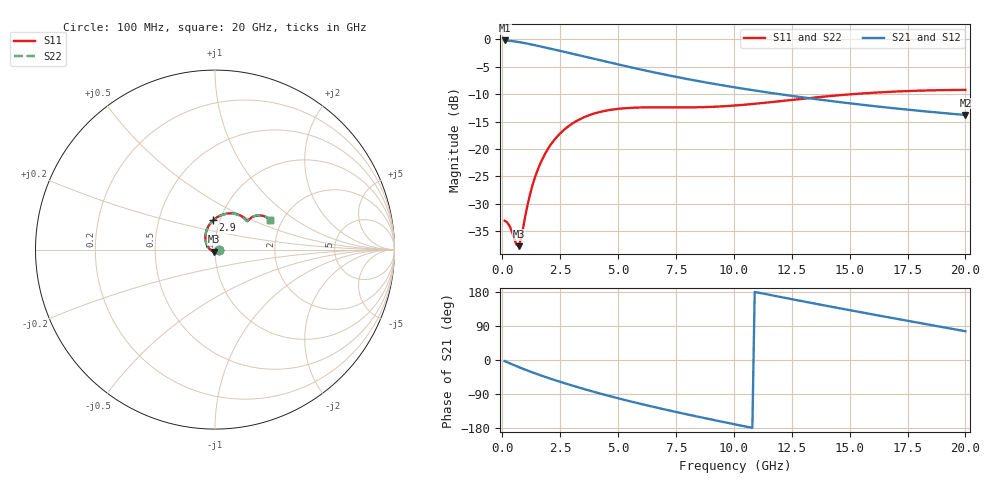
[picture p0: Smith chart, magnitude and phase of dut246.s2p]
! Touchstone file exported from HFSS 2023.1.0
!  File:  D:/Users/fzz/RDL_TSV/temp_RDL_TSV_246_1778759909.aedt
!  Generated:  8:11:15 %x4E0B%x5348  5%x6708 14, 2026
!  Design:  RDL_TSV
!  Project:  temp_RDL_TSV_246_1778759909
!  Setup:  Setup1
!  Solution:  Sweep
! Variables:
!  dtsv = 17.48um
!  hbump = 3um
!  htsv = 85.79um
!  ldown = 477.28um
!  lrdl = 599.51um
!  p = 40
!  p1 = 56.11um
!  rhole = 10um
!  subl = 3829.88um
!  t = 450um
!  tdown = 3.16um
!  trdl = 3.34um
!  viad = 10um
!  wdown = 13.04um
!  wrdl = 24.68um
!  xbump = 18um
# GHz S MA R 50.000000
! Terminal data exported
! Port[1] = TM1_1_T1
! Port[2] = TM1_4_T1
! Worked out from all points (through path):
!   200 points, 100 MHz to 20 GHz, reference 50 ohm
!   highest |S21| = -0.20 dB at 100 MHz (marker M1); lowest = -13.8 dB at 20 GHz (marker M2)
!   group delay of S21, straight-line fit = 37.1 ps
!   lowest |S11| = -37.7 dB at 700 MHz (marker M3), VSWR 1.03, Z = 49.6 - j1.22 ohm
!   |S11| at or under -10 dB: start of sweep to 15.14 GHz
!   |S22| runs from -37.7 to -9.2 dB; largest |S21 - S12| = 8.5e-15
!   S11 on the Smith chart (normalised r, x): 100 MHz: 1.04, -0.01; 2.9 GHz: 0.93, +0.31; 20 GHz: 1.73, +0.64
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0.1  0.02213 -7.4  0.9767 -2.8  0.9767 -2.8  0.02213 -7.4
! Gamma 0 0 0 0
! Port Impedance 50 0 50 0
0.3  0.02005 -26.3  0.9701 -8.2  0.9701 -8.2  0.02006 -26.3
0.6  0.01352 -78.5  0.953 -16.0  0.953 -16.0  0.01355 -78.4
0.7  0.01296 -108.0  0.9459 -18.5  0.9459 -18.5  0.01296 -107.7
0.8  0.01489 -137.6  0.9381 -21.0  0.9381 -21.0  0.01485 -137.2
1.2  0.03869 162.5  0.9034 -30.5  0.9034 -30.5  0.0385 162.6
1.4  0.05415 148.4  0.8849 -35.0  0.8849 -35.0  0.05388 148.4
1.6  0.07022 137.5  0.8662 -39.3  0.8662 -39.3  0.06988 137.5
1.9  0.09428 124.3  0.8383 -45.6  0.8383 -45.6  0.09382 124.3
2.2  0.1173 113.5  0.811 -51.7  0.811 -51.7  0.1167 113.5
2.9  0.1635 93.7  0.75 -65.2  0.75 -65.2  0.1627 93.6
3.5  0.1933 80.6  0.7006 -76.1  0.7006 -76.1  0.1922 80.6
4.3  0.2195 67.2  0.6393 -89.8  0.6393 -89.8  0.2181 67.1
5.1  0.2333 57.3  0.584 -102.6  0.584 -102.6  0.2317 57.2
5.9  0.2387 50.2  0.5349 -114.7  0.5349 -114.7  0.237 50.2
6.8  0.2396 45.1  0.487 -127.5  0.487 -127.5  0.2378 45.2
8.3  0.2396 41.5  0.4221 -147.7  0.4221 -147.7  0.2378 41.7
10.1  0.2494 41.3  0.3629 -170.5  0.3629 -170.5  0.248 41.6
11.8  0.2699 41.3  0.3198 168.8  0.3198 168.8  0.2688 41.5
13.4  0.2932 39.8  0.2874 149.9  0.2874 149.9  0.2923 40.1
16.7  0.3317 34.0  0.2376 112.4  0.2376 112.4  0.331 34.2
20  0.3461 28.3  0.2041 76.0  0.2041 76.0  0.3454 28.4
